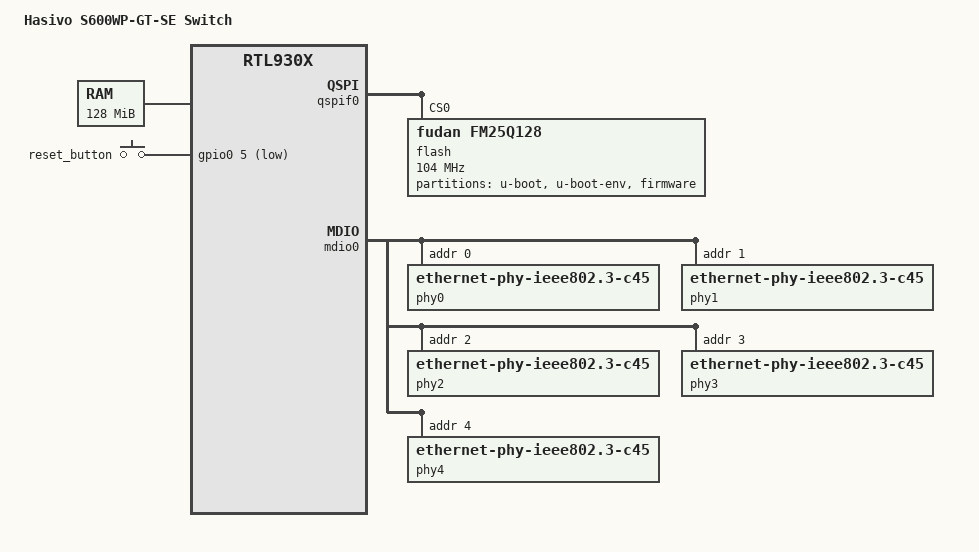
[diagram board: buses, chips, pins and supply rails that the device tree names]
// SPDX-License-Identifier: (GPL-2.0-or-later or MIT)
/dts-v1/;

#include <dt-bindings/input/input.h>
#include <dt-bindings/gpio/gpio.h>
#include <dt-bindings/leds/common.h>
#include <dt-bindings/leds/leds-realtek.h>

#include "rtl9303.dtsi"

/ {
	compatible = "hasivo,s600w-gt-se", "realtek,rtl9303-soc", "realtek,rtl930x-soc";
	model = "Hasivo S600WP-GT-SE Switch";

	led_set: led_set@0 {
		compatible = "realtek,rtl9300-leds";
		led_set0 = /bits/ 16 <
			/* LED0 */
			(
				RTL93XX_LED_SET_LINK_ACTIVITY |
				RTL93XX_LED_SET_LINK_UP_SOLID |
				RTL93XX_LED_SET_2G5_LINK
			)
			/* LED1 */
			(
				RTL93XX_LED_SET_LINK_ACTIVITY |
				RTL93XX_LED_SET_LINK_UP_SOLID |
				RTL93XX_LED_SET_1000M_LINK |
				RTL93XX_LED_SET_100M_LINK |
				RTL93XX_LED_SET_10M_LINK
			)
		>;
	};

	memory@0 {
		reg = <0x0 0x8000000>; /* 128 MiB */
		device_type = "memory";
	};
};

&reset_button {
	gpios = <&gpio0 5 GPIO_ACTIVE_LOW>;

	status = "okay";
};

&qspif0 {
	status = "okay";
	flash: fm25q128@0 {
		compatible = "fudan,fm25q128", "jedec,spi-nor";
		reg = <0>;
		spi-max-frequency = <104000000>;

		partitions: partitions {
			compatible = "fixed-partitions";
			#address-cells = <1>;
			#size-cells = <1>;

			partition@0 {
				reg = <0x0 0xe0000>;
				label = "u-boot";
				read-only;
			};

			partition@e0000 {
				reg = <0xe0000 0x10000>;
				label = "u-boot-env";
			};

			partition@f0000 {
				compatible = "openwrt,uimage", "denx,uimage";
				label = "firmware";
				reg = <0xf0000 0xf10000>;
				openwrt,ih-magic = <0x93030000>;
			};
		};
	};
};

&mdio0 {
	/* External RTL8221B 2.5G phy */
	phy0: ethernet-phy@0 {
		reg = <0>;
		compatible = "ethernet-phy-ieee802.3-c45";
		rtl9300,smi-address = <0 1>;
		sds = <2>;
	};

	phy1: ethernet-phy@1 {
		reg = <1>;
		compatible = "ethernet-phy-ieee802.3-c45";
		rtl9300,smi-address = <0 2>;
		sds = <3>;
	};

	phy2: ethernet-phy@2 {
		reg = <2>;
		compatible = "ethernet-phy-ieee802.3-c45";
		rtl9300,smi-address = <0 3>;
		sds = <4>;
	};

	phy3: ethernet-phy@3 {
		reg = <3>;
		compatible = "ethernet-phy-ieee802.3-c45";
		rtl9300,smi-address = <0 4>;
		sds = <5>;
	};

	phy4: ethernet-phy@4 {
		reg = <4>;
		compatible = "ethernet-phy-ieee802.3-c45";
		rtl9300,smi-address = <1 1>;
		sds = <6>;
	};
};

&switch0_ports {
	port@0 {
		reg = <0>;
		label = "lan1";
		led-num = <(
			RTL93XX_LED_NUM0 | /* Orange */
			RTL93XX_LED_NUM1 | /* Lime */
			RTL93XX_LED_NUM2   /* Lime */
		)>;
		led-set = <0>;
		phy-mode = "hsgmii";
		phy-handle = <&phy0>;
	};

	port@8 {
		reg = <8>;
		label = "lan2";
		led-num = <(
			RTL93XX_LED_NUM0 | /* Orange */
			RTL93XX_LED_NUM1 | /* Lime */
			RTL93XX_LED_NUM2   /* Lime */
		)>;
		led-set = <0>;
		phy-mode = "hsgmii";
		phy-handle = <&phy1>;
	};

	port@16 {
		reg = <16>;
		label = "lan3";
		led-num = <(
			RTL93XX_LED_NUM0 | /* Orange */
			RTL93XX_LED_NUM1 | /* Lime */
			RTL93XX_LED_NUM2   /* Lime */
		)>;
		led-set = <0>;
		phy-mode = "hsgmii";
		phy-handle = <&phy2>;
	};

	port@20 {
		reg = <20>;
		label = "lan4";
		led-num = <(
			RTL93XX_LED_NUM0 | /* Orange */
			RTL93XX_LED_NUM1 | /* Lime */
			RTL93XX_LED_NUM2   /* Lime */
		)>;
		led-set = <0>;
		phy-mode = "hsgmii";
		phy-handle = <&phy3>;
	};

	port@24 {
		reg = <24>;
		label = "lan5";
		led-num = <(
			RTL93XX_LED_NUM0 | /* Orange */
			RTL93XX_LED_NUM1 | /* Lime */
			RTL93XX_LED_NUM2   /* Lime */
		)>;
		led-set = <0>;
		phy-mode = "hsgmii";
		phy-handle = <&phy4>;
	};
};
